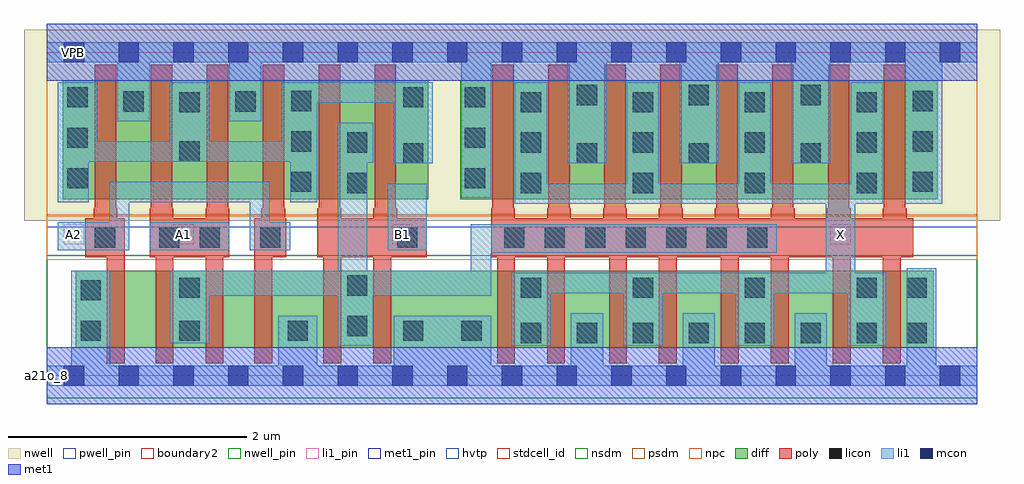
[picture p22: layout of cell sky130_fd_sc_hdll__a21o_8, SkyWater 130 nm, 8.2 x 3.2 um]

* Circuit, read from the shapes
.subckt sky130_fd_sc_hdll__a21o_8 A1 A2 B1 VGND VNB VPB VPWR X
XM1 n1 A2 VGND VNB sky130_fd_pr__nfet_01v8 w=0.65 l=0.15
XM2 n2 A1 n1 VNB sky130_fd_pr__nfet_01v8 w=0.65 l=0.15
XM3 n3 A1 n2 VNB sky130_fd_pr__nfet_01v8 w=0.65 l=0.15
XM4 VGND A2 n3 VNB sky130_fd_pr__nfet_01v8 w=0.65 l=0.15
XM5 n2 B1 VGND VNB sky130_fd_pr__nfet_01v8 w=0.65 l=0.15 m=2
XM6 X n2 VGND VNB sky130_fd_pr__nfet_01v8 w=0.65 l=0.15 m=8
XM7 VPWR A2 n4 VPB sky130_fd_pr__pfet_01v8_hvt w=1 l=0.18 m=2
XM8 n4 A1 VPWR VPB sky130_fd_pr__pfet_01v8_hvt w=1 l=0.18 m=2
XM9 n2 B1 n4 VPB sky130_fd_pr__pfet_01v8_hvt w=1 l=0.18 m=2
XM10 X n2 VPWR VPB sky130_fd_pr__pfet_01v8_hvt w=1 l=0.18 m=8
.ends

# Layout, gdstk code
import gdstk
lib = gdstk.Library(unit=1e-6, precision=1e-09)
def R(c, l, rs):  # rectangles x0, y0, x1, y1
    for r in rs: c.add(gdstk.rectangle(r[:2], r[2:], *l))
def A(c, l, x, y, w, h, nx, ny, dx, dy):  # array of equal rectangles
    R(c, l, [(x+i*dx, y+j*dy, x+i*dx+w, y+j*dy+h) for i in range(nx) for j in range(ny)])
def P(c, l, *ps):  # polygons
    for p in ps: c.add(gdstk.Polygon(p, *l))
nwell_pin = (64, 16)
nwell = (64, 20)
diff = (65, 20)
poly = (66, 20)
licon = (66, 44)
li1_pin = (67, 16)
li1 = (67, 20)
mcon = (67, 44)
met1_pin = (68, 16)
met1 = (68, 20)
hvtp = (78, 44)
stdcell_id = (81, 4)
nsdm = (93, 44)
psdm = (94, 20)
npc = (95, 20)
pwell_pin = (122, 16)
boundary2 = (236, 0)

sky130_fd_sc_hdll__a21o_ = lib.new_cell('sky130_fd_sc_hdll__a21o_8')
R(sky130_fd_sc_hdll__a21o_, nwell_pin, [(0.145,2.635,0.315,2.805)])
R(sky130_fd_sc_hdll__a21o_, nwell, [(-0.19,1.305,8.01,2.91)])
R(sky130_fd_sc_hdll__a21o_, diff, [(0.245,0.235,7.455,0.885), (0.135,1.485,3.205,2.485), (3.475,1.485,7.485,2.485)])
P(sky130_fd_sc_hdll__a21o_, poly, [(0.655,1.325),(0.595,1.325),(0.595,1.41),(0.585,1.41),(0.585,2.615),(0.405,2.615),(0.405,1.41),(0.395,1.41),(0.395,1.325),(0.325,1.325),(0.325,0.995),(0.505,0.995),(0.505,0.105),(0.655,0.105)],
  [(1.535,1.41),(1.525,1.41),(1.525,2.615),(1.345,2.615),(1.345,1.41),(1.335,1.41),(1.335,1.325),(1.065,1.325),(1.065,1.41),(1.055,1.41),(1.055,2.615),(0.875,2.615),(0.875,1.41),(0.865,1.41),(0.865,0.995),(0.915,0.995),(0.915,0.105),(1.065,0.105),(1.065,0.995),(1.335,0.995),(1.335,0.105),(1.485,0.105),(1.485,0.995),(1.535,0.995)],
  [(2.015,1.325),(2.005,1.325),(2.005,1.41),(1.995,1.41),(1.995,2.615),(1.815,2.615),(1.815,1.41),(1.805,1.41),(1.805,1.325),(1.745,1.325),(1.745,0.105),(1.895,0.105),(1.895,0.995),(2.015,0.995)],
  [(7.28,1.325),(7.225,1.325),(7.225,1.41),(7.215,1.41),(7.215,2.615),(7.035,2.615),(7.035,1.41),(7.025,1.41),(7.025,1.325),(6.755,1.325),(6.755,1.41),(6.745,1.41),(6.745,2.615),(6.565,2.615),(6.565,1.41),(6.555,1.41),(6.555,1.325),(6.34,1.325),(6.34,0.995),(6.605,0.995),(6.605,0.105),(6.755,0.105),(6.755,0.995),(7.025,0.995),(7.025,0.105),(7.175,0.105),(7.175,0.995),(7.28,0.995)],
  [(5.57,1.325),(5.345,1.325),(5.345,1.41),(5.335,1.41),(5.335,2.615),(5.155,2.615),(5.155,1.41),(5.145,1.41),(5.145,1.325),(4.875,1.325),(4.875,1.41),(4.865,1.41),(4.865,2.615),(4.685,2.615),(4.685,1.41),(4.675,1.41),(4.675,1.325),(4.405,1.325),(4.405,1.41),(4.395,1.41),(4.395,2.615),(4.215,2.615),(4.215,1.41),(4.205,1.41),(4.205,1.325),(3.935,1.325),(3.935,1.41),(3.925,1.41),(3.925,2.615),(3.745,2.615),(3.745,1.41),(3.735,1.41),(3.735,0.995),(3.785,0.995),(3.785,0.105),(3.935,0.105),(3.935,0.995),(4.205,0.995),(4.205,0.105),(4.355,0.105),(4.355,0.995),(4.725,0.995),(4.725,0.105),(4.875,0.105),(4.875,0.995),(5.145,0.995),(5.145,0.105),(5.295,0.105),(5.295,0.995),(5.57,0.995)],
  [(3.195,1.325),(2.945,1.325),(2.945,1.41),(2.935,1.41),(2.935,2.615),(2.755,2.615),(2.755,1.41),(2.745,1.41),(2.745,1.325),(2.475,1.325),(2.475,1.41),(2.465,1.41),(2.465,2.615),(2.285,2.615),(2.285,1.41),(2.275,1.41),(2.275,0.995),(2.325,0.995),(2.325,0.105),(2.475,0.105),(2.475,0.995),(2.745,0.995),(2.745,0.105),(2.895,0.105),(2.895,0.995),(3.195,0.995)],
  [(6.34,1.325),(6.285,1.325),(6.285,1.41),(6.275,1.41),(6.275,2.615),(6.095,2.615),(6.095,1.41),(6.085,1.41),(6.085,1.325),(5.815,1.325),(5.815,1.41),(5.805,1.41),(5.805,2.615),(5.625,2.615),(5.625,1.41),(5.615,1.41),(5.615,1.325),(5.57,1.325),(5.57,0.995),(5.665,0.995),(5.665,0.105),(5.815,0.105),(5.815,0.995),(6.085,0.995),(6.085,0.105),(6.235,0.105),(6.235,0.995),(6.34,0.995)])
A(sky130_fd_sc_hdll__a21o_, licon, 3.985, 0.275, 0.17, 0.17, 7, 1, 0.47, 0)
A(sky130_fd_sc_hdll__a21o_, licon, 3.985, 0.655, 0.17, 0.17, 4, 2, 0.94, 0.88)
A(sky130_fd_sc_hdll__a21o_, licon, 3.845, 1.075, 0.17, 0.17, 7, 1, 0.34, 0)
A(sky130_fd_sc_hdll__a21o_, licon, 2.055, 1.545, 0.17, 0.17, 1, 3, 0, 0.34)
A(sky130_fd_sc_hdll__a21o_, licon, 7.275, 1.545, 0.17, 0.17, 1, 3, 0, 0.34)
A(sky130_fd_sc_hdll__a21o_, licon, 0.175, 1.575, 0.17, 0.17, 1, 3, 0, 0.34)
A(sky130_fd_sc_hdll__a21o_, licon, 3.515, 1.575, 0.17, 0.17, 1, 3, 0, 0.34)
A(sky130_fd_sc_hdll__a21o_, licon, 4.455, 1.785, 0.17, 0.17, 3, 2, 0.94, 0.49)
A(sky130_fd_sc_hdll__a21o_, licon, 3.985, 1.875, 0.17, 0.17, 4, 2, 0.94, 0.34)
R(sky130_fd_sc_hdll__a21o_, licon, [(7.225,0.275,7.395,0.445), (0.285,0.295,0.455,0.465), (1.115,0.295,1.285,0.465), (2.025,0.295,2.195,0.465), (2.995,0.295,3.165,0.465), (3.485,0.295,3.655,0.465), (2.525,0.335,2.695,0.505), (0.285,0.635,0.455,0.805), (1.115,0.655,1.285,0.825), (7.225,0.655,7.395,0.825), (2.525,0.675,2.695,0.845), (0.405,1.075,0.575,1.245), (0.945,1.075,1.115,1.245), (1.285,1.075,1.455,1.245), (1.795,1.075,1.965,1.245), (2.945,1.075,3.115,1.245), (2.525,1.535,2.695,1.705), (2.995,1.785,3.165,1.955), (1.115,1.8,1.285,1.97), (2.525,1.875,2.695,2.045), (1.115,2.215,1.285,2.385), (0.645,2.22,0.815,2.39), (1.585,2.22,1.755,2.39), (2.995,2.255,3.165,2.425)])
R(sky130_fd_sc_hdll__a21o_, li1_pin, [(0.145,1.105,0.315,1.275), (1.065,1.105,1.235,1.275), (2.905,1.105,3.075,1.275), (6.585,1.105,6.755,1.275)])
R(sky130_fd_sc_hdll__a21o_, li1, [(5.345,0.085,5.615,0.525), (6.285,0.085,6.555,0.525), (7.225,0.085,7.475,0.905), (6.545,0.865,6.795,1.445), (0.865,1.055,1.535,1.29), (2.865,1.055,3.195,1.615), (7.215,1.445,7.525,2.635), (5.315,1.785,5.645,2.635), (6.255,1.785,6.585,2.635)])
P(sky130_fd_sc_hdll__a21o_, li1, [(6.135,1.275),(3.565,1.275),(3.565,0.885),(2.695,0.885),(2.695,1.79),(2.745,1.79),(2.745,2.125),(2.445,2.125),(2.445,0.885),(1.035,0.885),(1.035,0.275),(1.365,0.275),(1.365,0.675),(2.445,0.675),(2.445,0.255),(2.745,0.255),(2.745,0.675),(3.735,0.675),(3.735,1.035),(6.135,1.035)],
  [(2.045,1.29),(1.875,1.29),(1.875,1.63),(0.525,1.63),(0.525,1.29),(0.095,1.29),(0.095,1.055),(0.695,1.055),(0.695,1.46),(1.705,1.46),(1.705,1.055),(2.045,1.055)],
  [(7.82,0.085),(4.675,0.085),(4.675,0.525),(4.405,0.525),(4.405,0.085),(3.735,0.085),(3.735,0.505),(2.915,0.505),(2.915,0.085),(2.275,0.085),(2.275,0.505),(1.945,0.505),(1.945,0.085),(0.535,0.085),(0.535,0.885),(0.205,0.885),(0.205,0.085),(0,0.085),(0,-0.085),(7.82,-0.085)],
  [(6.085,2.465),(5.815,2.465),(5.815,1.615),(5.405,1.615),(5.405,1.445),(6.085,1.445)],
  [(7.025,2.465),(6.755,2.465),(6.755,1.615),(6.085,1.615),(6.085,1.445),(7.025,1.445)],
  [(6.115,0.865),(5.425,0.865),(5.425,0.695),(5.785,0.695),(5.785,0.255),(6.115,0.255)],
  [(5.425,0.865),(3.905,0.865),(3.905,0.255),(4.235,0.255),(4.235,0.695),(4.845,0.695),(4.845,0.255),(5.175,0.255),(5.175,0.695),(5.425,0.695)],
  [(5.405,1.615),(5.145,1.615),(5.145,2.465),(4.875,2.465),(4.875,1.615),(4.205,1.615),(4.205,2.465),(3.935,2.465),(3.935,1.445),(5.405,1.445)],
  [(7.82,2.805),(0,2.805),(0,2.635),(0.595,2.635),(0.595,2.14),(0.865,2.14),(0.865,2.635),(1.535,2.635),(1.535,2.14),(1.805,2.14),(1.805,2.635),(3.485,2.635),(3.485,1.495),(3.735,1.495),(3.735,2.635),(4.375,2.635),(4.375,1.785),(4.705,1.785),(4.705,2.635),(7.82,2.635)],
  [(3.245,2.465),(1.975,2.465),(1.975,1.97),(1.365,1.97),(1.365,2.465),(1.035,2.465),(1.035,1.97),(0.425,1.97),(0.425,2.465),(0.095,2.465),(0.095,1.46),(0.355,1.46),(0.355,1.8),(2.045,1.8),(2.045,1.46),(2.275,1.46),(2.275,2.295),(2.915,2.295),(2.915,1.785),(3.245,1.785)],
  [(7.055,0.865),(6.115,0.865),(6.115,0.695),(6.725,0.695),(6.725,0.255),(7.055,0.255)])
A(sky130_fd_sc_hdll__a21o_, mcon, 0.145, -0.085, 0.17, 0.17, 17, 2, 0.46, 2.72)
R(sky130_fd_sc_hdll__a21o_, met1_pin, [(0.145,-0.085,0.315,0.085), (0.145,2.635,0.315,2.805)])
R(sky130_fd_sc_hdll__a21o_, met1, [(0,-0.24,7.82,0.24), (0,2.48,7.82,2.96)])
R(sky130_fd_sc_hdll__a21o_, hvtp, [(0,1.25,7.82,2.72)])
R(sky130_fd_sc_hdll__a21o_, stdcell_id, [(0,0,7.82,2.72)])
R(sky130_fd_sc_hdll__a21o_, nsdm, [(0,-0.19,7.82,1.015)])
R(sky130_fd_sc_hdll__a21o_, psdm, [(0,1.355,7.82,2.91)])
R(sky130_fd_sc_hdll__a21o_, npc, [(0,0.975,7.82,1.345)])
R(sky130_fd_sc_hdll__a21o_, pwell_pin, [(0.145,-0.085,0.315,0.085)])
R(sky130_fd_sc_hdll__a21o_, boundary2, [(0,0,7.82,2.72)])
sky130_fd_sc_hdll__a21o_.add(gdstk.Label('a21o_8', (0,0), layer=83, texttype=44))
sky130_fd_sc_hdll__a21o_.add(gdstk.Label('A2', (0.23,1.19), layer=67, texttype=5))
sky130_fd_sc_hdll__a21o_.add(gdstk.Label('A1', (1.15,1.19), layer=67, texttype=5))
sky130_fd_sc_hdll__a21o_.add(gdstk.Label('X', (6.67,1.19), layer=67, texttype=5))
sky130_fd_sc_hdll__a21o_.add(gdstk.Label('B1', (2.99,1.19), layer=67, texttype=5))
sky130_fd_sc_hdll__a21o_.add(gdstk.Label('VNB', (0.23,0), layer=64, texttype=59))
sky130_fd_sc_hdll__a21o_.add(gdstk.Label('VPB', (0.23,2.72), layer=64, texttype=5))
sky130_fd_sc_hdll__a21o_.add(gdstk.Label('VGND', (0.23,0), layer=68, texttype=5))
sky130_fd_sc_hdll__a21o_.add(gdstk.Label('VPWR', (0.23,2.72), layer=68, texttype=5))

lib.write_gds('sky130_fd_sc_hdll__a21o_8.gds')
